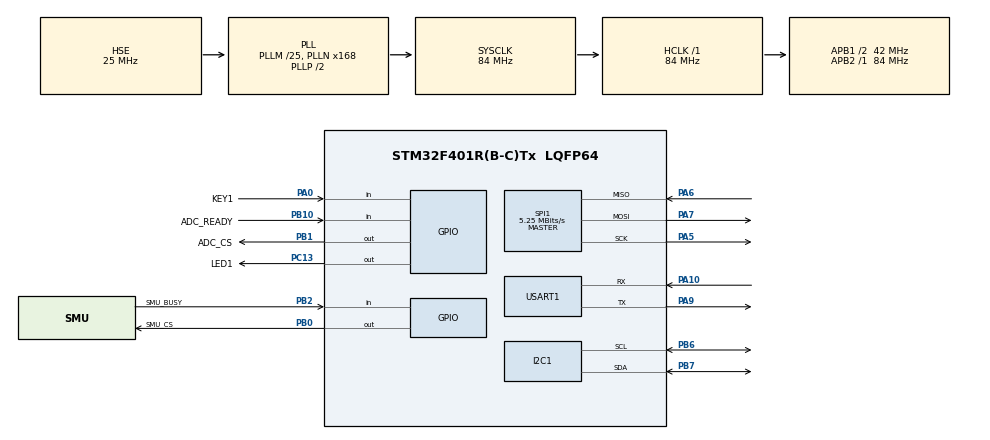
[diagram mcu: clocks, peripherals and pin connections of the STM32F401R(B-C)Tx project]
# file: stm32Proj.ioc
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Dma.Request0=USART1_RX
Dma.USART1_RX.0.Direction=DMA_PERIPH_TO_MEMORY
Dma.USART1_RX.0.FIFOMode=DMA_FIFOMODE_DISABLE
Dma.USART1_RX.0.Instance=DMA2_Stream2
Dma.USART1_RX.0.MemDataAlignment=DMA_MDATAALIGN_BYTE
Dma.USART1_RX.0.MemInc=DMA_MINC_ENABLE
Dma.USART1_RX.0.Mode=DMA_CIRCULAR
Dma.USART1_RX.0.PeriphDataAlignment=DMA_PDATAALIGN_BYTE
Dma.USART1_RX.0.PeriphInc=DMA_PINC_DISABLE
Dma.USART1_RX.0.Priority=DMA_PRIORITY_LOW
FREERTOS.Tasks01=defaultTask,24,128,StartDefaultTask,Default,NULL,Dynamic,NULL,NULL;myTask02,8,128,StartTask02,Default,NULL,Dynamic,NULL,NULL
I2C1.I2C_Mode=I2C_Fast
Mcu.Family=STM32F4
Mcu.Name=STM32F401R(B-C)Tx
Mcu.Package=LQFP64
NVIC.DMA2_Stream2_IRQn=true\:5\:0\:false\:false\:true\:true\:false\:true\:true
NVIC.PriorityGroup=NVIC_PRIORITYGROUP_4
NVIC.TIM1_UP_TIM10_IRQn=true\:15\:0\:false\:false\:true\:false\:false\:true\:true
NVIC.TimeBase=TIM1_UP_TIM10_IRQn
NVIC.TimeBaseIP=TIM10
NVIC.USART1_IRQn=true\:5\:0\:false\:false\:true\:true\:true\:true\:true
PA0-WKUP.GPIO_Label=KEY1
PA0-WKUP.Signal=GPIO_Input
PA10.Mode=Asynchronous
PA10.Signal=USART1_RX
PA13.Mode=Serial_Wire
PA13.Signal=SYS_JTMS-SWDIO
PA14.Mode=Serial_Wire
PA14.Signal=SYS_JTCK-SWCLK
PA5.Mode=Full_Duplex_Master
PA5.Signal=SPI1_SCK
PA6.Mode=Full_Duplex_Master
PA6.Signal=SPI1_MISO
PA7.Mode=Full_Duplex_Master
PA7.Signal=SPI1_MOSI
PA9.Mode=Asynchronous
PA9.Signal=USART1_TX
PB0.GPIO_Label=SMU_CS
PB0.Signal=GPIO_Output
PB1.GPIO_Label=ADC_CS
PB1.Signal=GPIO_Output
PB10.GPIO_Label=ADC_READY
PB10.Signal=GPIO_Input
PB2.GPIO_Label=SMU_BUSY
PB2.Signal=GPIO_Input
PB6.Mode=I2C
PB6.Signal=I2C1_SCL
PB7.Mode=I2C
PB7.Signal=I2C1_SDA
PC13-ANTI_TAMP.GPIO_Label=LED1
PC13-ANTI_TAMP.Signal=GPIO_Output
PH0\ -\ OSC_IN.Mode=HSE-External-Oscillator
PH0\ -\ OSC_IN.Signal=RCC_OSC_IN
PH1\ -\ OSC_OUT.Mode=HSE-External-Oscillator
PH1\ -\ OSC_OUT.Signal=RCC_OSC_OUT
ProjectManager.HeapSize=0x200
ProjectManager.StackSize=0x400
ProjectManager.TargetToolchain=CMake
RCC.48MHZClocksFreq_Value=42000000
RCC.AHBFreq_Value=84000000
RCC.APB1CLKDivider=RCC_HCLK_DIV2
RCC.APB1Freq_Value=42000000
RCC.APB1TimFreq_Value=84000000
RCC.APB2Freq_Value=84000000
RCC.APB2TimFreq_Value=84000000
RCC.CortexFreq_Value=84000000
RCC.HCLKFreq_Value=84000000
RCC.HSE_VALUE=25000000
RCC.HSI_VALUE=16000000
RCC.LSE_VALUE=32768
RCC.PLLM=25
RCC.PLLN=168
RCC.PLLSourceVirtual=RCC_PLLSOURCE_HSE
RCC.SYSCLKFreq_VALUE=84000000
RCC.SYSCLKSource=RCC_SYSCLKSOURCE_PLLCLK
RCC.VCOOutputFreq_Value=168000000
SPI1.BaudRatePrescaler=SPI_BAUDRATEPRESCALER_16
SPI1.CLKPhase=SPI_PHASE_2EDGE
SPI1.CalculateBaudRate=5.25 MBits/s
SPI1.Direction=SPI_DIRECTION_2LINES
SPI1.Mode=SPI_MODE_MASTER
SPI1.VirtualType=VM_MASTER
USART1.VirtualMode=VM_ASYNC
VP_FREERTOS_VS_CMSIS_V2.Mode=CMSIS_V2
VP_SYS_VS_tim10.Mode=TIM10
board=custom

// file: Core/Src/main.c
/* USER CODE BEGIN Header */
/**
 ******************************************************************************
 * @file           : main.c
 * @brief          : Main program body
 ******************************************************************************
 * @attention
 *
 * Copyright (c) 2026 STMicroelectronics.
 * All rights reserved.
 *
 * This software is licensed under terms that can be found in the LICENSE file
 * in the root directory of this software component.
 * If no LICENSE file comes with this software, it is provided AS-IS.
 *
 ******************************************************************************
 */
/* USER CODE END Header */
#include "main.h"
#include "cmsis_os.h"

/* USER CODE BEGIN Includes */
#include "FreeRTOS.h"
#include "semphr.h"
#include "stm32f4xx_hal_uart.h"
#include "app_flashdb.h"
#include "ui.h"
#include "task_adc.h"
#include "task_dac.h"
#include "task_scpi.h"
/* USER CODE END Includes */

/* USER CODE BEGIN PM */
SemaphoreHandle_t semaphore_spi1;
/* USER CODE END PM */

I2C_HandleTypeDef hi2c1;

SPI_HandleTypeDef hspi1;

UART_HandleTypeDef huart1;
DMA_HandleTypeDef hdma_usart1_rx;

/* Definitions for defaultTask */
osThreadId_t defaultTaskHandle;
const osThreadAttr_t defaultTask_attributes = {
    .name = "defaultTask",
    .stack_size = 128 * 8,
    .priority = (osPriority_t)osPriorityLow,
};
/* Definitions for myTask02 */
osThreadId_t myTask02Handle;
const osThreadAttr_t myTask02_attributes = {
    .name = "myTask02",
    .stack_size = 128 * 14,
    .priority = (osPriority_t)osPriorityNormal,
};

void SystemClock_Config(void);
static void MX_GPIO_Init(void);
static void MX_DMA_Init(void);
static void MX_I2C1_Init(void);
static void MX_SPI1_Init(void);
static void MX_USART1_UART_Init(void);
void StartDefaultTask(void *argument);
void StartTask02(void *argument);

int main(void)
{

  /* MCU Configuration--------------------------------------------------------*/

  /* Reset of all peripherals, Initializes the Flash interface and the Systick. */
  HAL_Init();

  /* Configure the system clock */
  SystemClock_Config();

  /* Initialize all configured peripherals */
  MX_GPIO_Init();
  MX_DMA_Init();
  MX_I2C1_Init();
  MX_SPI1_Init();
  MX_USART1_UART_Init();

  /* Init scheduler */
  osKernelInitialize();

  /* USER CODE BEGIN RTOS_MUTEX */
  /* add mutexes, ... */
  semaphore_spi1 = xSemaphoreCreateMutex();
  /* USER CODE END RTOS_MUTEX */

  /* Create the thread(s) */
  /* creation of defaultTask */
  defaultTaskHandle = osThreadNew(StartDefaultTask, NULL, &defaultTask_attributes);

  /* creation of myTask02 */
  myTask02Handle = osThreadNew(StartTask02, NULL, &myTask02_attributes);

  /* Start scheduler */
  osKernelStart();

  /* We should never get here as control is now taken by the scheduler */

  /* Infinite loop */
  while (1)
  {

  }
}

void SystemClock_Config(void)
{
  RCC_OscInitTypeDef RCC_OscInitStruct = {0};
  RCC_ClkInitTypeDef RCC_ClkInitStruct = {0};

  /** Configure the main internal regulator output voltage
   */
  __HAL_RCC_PWR_CLK_ENABLE();
  __HAL_PWR_VOLTAGESCALING_CONFIG(PWR_REGULATOR_VOLTAGE_SCALE2);

  /** Initializes the RCC Oscillators according to the specified parameters
   * in the RCC_OscInitTypeDef structure.
   */
  RCC_OscInitStruct.OscillatorType = RCC_OSCILLATORTYPE_HSE;
  RCC_OscInitStruct.HSEState = RCC_HSE_ON;
  RCC_OscInitStruct.PLL.PLLState = RCC_PLL_ON;
  RCC_OscInitStruct.PLL.PLLSource = RCC_PLLSOURCE_HSE;
  RCC_OscInitStruct.PLL.PLLM = 25;
  RCC_OscInitStruct.PLL.PLLN = 168;
  RCC_OscInitStruct.PLL.PLLP = RCC_PLLP_DIV2;
  RCC_OscInitStruct.PLL.PLLQ = 4;
  if (HAL_RCC_OscConfig(&RCC_OscInitStruct) != HAL_OK)
  {
    Error_Handler();
  }

  /** Initializes the CPU, AHB and APB buses clocks
   */
  RCC_ClkInitStruct.ClockType = RCC_CLOCKTYPE_HCLK | RCC_CLOCKTYPE_SYSCLK | RCC_CLOCKTYPE_PCLK1 | RCC_CLOCKTYPE_PCLK2;
  RCC_ClkInitStruct.SYSCLKSource = RCC_SYSCLKSOURCE_PLLCLK;
  RCC_ClkInitStruct.AHBCLKDivider = RCC_SYSCLK_DIV1;
  RCC_ClkInitStruct.APB1CLKDivider = RCC_HCLK_DIV2;
  RCC_ClkInitStruct.APB2CLKDivider = RCC_HCLK_DIV1;

  if (HAL_RCC_ClockConfig(&RCC_ClkInitStruct, FLASH_LATENCY_2) != HAL_OK)
  {
    Error_Handler();
  }
}

static void MX_I2C1_Init(void)
{

  hi2c1.Instance = I2C1;
  hi2c1.Init.ClockSpeed = 400000;
  hi2c1.Init.DutyCycle = I2C_DUTYCYCLE_2;
  hi2c1.Init.OwnAddress1 = 0;
  hi2c1.Init.AddressingMode = I2C_ADDRESSINGMODE_7BIT;
  hi2c1.Init.DualAddressMode = I2C_DUALADDRESS_DISABLE;
  hi2c1.Init.OwnAddress2 = 0;
  hi2c1.Init.GeneralCallMode = I2C_GENERALCALL_DISABLE;
  hi2c1.Init.NoStretchMode = I2C_NOSTRETCH_DISABLE;
  if (HAL_I2C_Init(&hi2c1) != HAL_OK)
  {
    Error_Handler();
  }
}

static void MX_SPI1_Init(void)
{

  /* SPI1 parameter configuration*/
  hspi1.Instance = SPI1;
  hspi1.Init.Mode = SPI_MODE_MASTER;
  hspi1.Init.Direction = SPI_DIRECTION_2LINES;
  hspi1.Init.DataSize = SPI_DATASIZE_8BIT;
  hspi1.Init.CLKPolarity = SPI_POLARITY_LOW;
  hspi1.Init.CLKPhase = SPI_PHASE_2EDGE;
  hspi1.Init.NSS = SPI_NSS_SOFT;
  hspi1.Init.BaudRatePrescaler = SPI_BAUDRATEPRESCALER_16;
  hspi1.Init.FirstBit = SPI_FIRSTBIT_MSB;
  hspi1.Init.TIMode = SPI_TIMODE_DISABLE;
  hspi1.Init.CRCCalculation = SPI_CRCCALCULATION_DISABLE;
  hspi1.Init.CRCPolynomial = 10;
  if (HAL_SPI_Init(&hspi1) != HAL_OK)
  {
    Error_Handler();
  }
}

static void MX_USART1_UART_Init(void)
{

  huart1.Instance = USART1;
  huart1.Init.BaudRate = 115200;
  huart1.Init.WordLength = UART_WORDLENGTH_8B;
  huart1.Init.StopBits = UART_STOPBITS_1;
  huart1.Init.Parity = UART_PARITY_NONE;
  huart1.Init.Mode = UART_MODE_TX_RX;
  huart1.Init.HwFlowCtl = UART_HWCONTROL_NONE;
  huart1.Init.OverSampling = UART_OVERSAMPLING_16;
  if (HAL_UART_Init(&huart1) != HAL_OK)
  {
    Error_Handler();
  }
}

static void MX_DMA_Init(void)
{

  /* DMA controller clock enable */
  __HAL_RCC_DMA2_CLK_ENABLE();

  /* DMA interrupt init */
  /* DMA2_Stream2_IRQn interrupt configuration */
  HAL_NVIC_SetPriority(DMA2_Stream2_IRQn, 5, 0);
  HAL_NVIC_EnableIRQ(DMA2_Stream2_IRQn);
}

static void MX_GPIO_Init(void)
{
  GPIO_InitTypeDef GPIO_InitStruct = {0};

  /* GPIO Ports Clock Enable */
  __HAL_RCC_GPIOC_CLK_ENABLE();
  __HAL_RCC_GPIOH_CLK_ENABLE();
  __HAL_RCC_GPIOA_CLK_ENABLE();
  __HAL_RCC_GPIOB_CLK_ENABLE();

  /*Configure GPIO pin Output Level */
  HAL_GPIO_WritePin(LED1_GPIO_Port, LED1_Pin, GPIO_PIN_RESET);

  /*Configure GPIO pin Output Level */
  HAL_GPIO_WritePin(GPIOB, SMU_CS_Pin | ADC_CS_Pin, GPIO_PIN_RESET);

  /*Configure GPIO pin : LED1_Pin */
  GPIO_InitStruct.Pin = LED1_Pin;
  GPIO_InitStruct.Mode = GPIO_MODE_OUTPUT_PP;
  GPIO_InitStruct.Pull = GPIO_NOPULL;
  GPIO_InitStruct.Speed = GPIO_SPEED_FREQ_LOW;
  HAL_GPIO_Init(LED1_GPIO_Port, &GPIO_InitStruct);

  /*Configure GPIO pin : KEY1_Pin */
  GPIO_InitStruct.Pin = KEY1_Pin;
  GPIO_InitStruct.Mode = GPIO_MODE_INPUT;
  GPIO_InitStruct.Pull = GPIO_NOPULL;
  HAL_GPIO_Init(KEY1_GPIO_Port, &GPIO_InitStruct);

  /*Configure GPIO pins : SMU_CS_Pin ADC_CS_Pin */
  GPIO_InitStruct.Pin = SMU_CS_Pin | ADC_CS_Pin;
  GPIO_InitStruct.Mode = GPIO_MODE_OUTPUT_PP;
  GPIO_InitStruct.Pull = GPIO_NOPULL;
  GPIO_InitStruct.Speed = GPIO_SPEED_FREQ_LOW;
  HAL_GPIO_Init(GPIOB, &GPIO_InitStruct);

  /*Configure GPIO pins : SMU_BUSY_Pin ADC_READY_Pin */
  GPIO_InitStruct.Pin = SMU_BUSY_Pin | ADC_READY_Pin;
  GPIO_InitStruct.Mode = GPIO_MODE_INPUT;
  GPIO_InitStruct.Pull = GPIO_NOPULL;
  HAL_GPIO_Init(GPIOB, &GPIO_InitStruct);

}

void StartDefaultTask(void *argument)
{
  /* USER CODE BEGIN 5 */
  if (app_flashdb_init() == FDB_NO_ERR)
  {
    // 初始化成功！运行官方测试示例（它会自动写入 username、password 等）
    app_flashdb_run_samples();

    struct fdb_blob blob;
    char username[20] = {0};
    // 建立一个数据气泡（Blob），指向你的接收缓冲区
    fdb_kv_get_blob(&kvdb, "username", fdb_blob_make(&blob, username, sizeof(username)));
    printf("当前存储的用户名是: %s\n", username);
  }
  u8g2_init();
  task_adc_init();
  /* Infinite loop */
  for (;;)
  {
    u8g2_loop();
    task_adc_loop();
    HAL_GPIO_TogglePin(LED1_GPIO_Port, LED1_Pin);
    osDelay(1);
  }
  /* USER CODE END 5 */
}

void StartTask02(void *argument)
{
  /* USER CODE BEGIN StartTask02 */
  task_dac_init();
  task_scpi_init();
  /* Infinite loop */
  for (;;)
  {
    task_scpi_loop();
    // HAL_UART_Transmit(&huart1, "1234/n", 5, 1000);
    // osDelay(1);
  }
  /* USER CODE END StartTask02 */
}

void HAL_TIM_PeriodElapsedCallback(TIM_HandleTypeDef *htim)
{
  if (htim->Instance == TIM10)
  {
    HAL_IncTick();
  }
}

void Error_Handler(void)
{
  __disable_irq();
  while (1)
  {
  }
}
